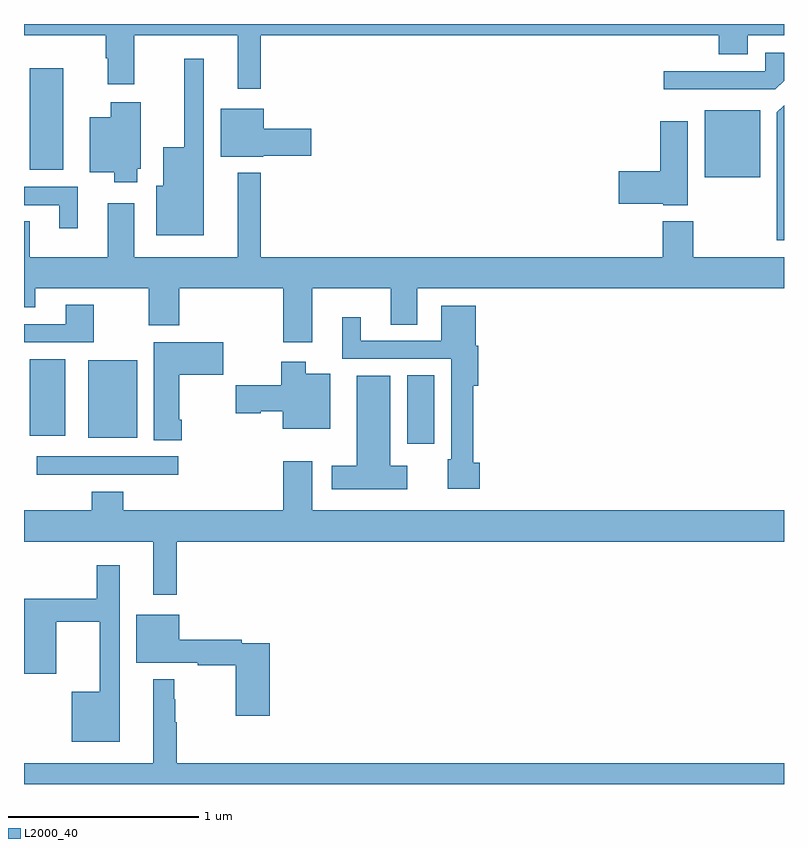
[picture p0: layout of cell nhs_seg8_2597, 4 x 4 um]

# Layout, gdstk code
import gdstk
lib = gdstk.Library(unit=1e-6, precision=1e-09)
def R(c, l, rs):  # rectangles x0, y0, x1, y1
    for r in rs: c.add(gdstk.rectangle(r[:2], r[2:], *l))
def P(c, l, *ps):  # polygons
    for p in ps: c.add(gdstk.Polygon(p, *l))
L2000_40 = (2000, 40)

nhs_seg8_2597 = lib.new_cell('nhs_seg8_2597')
R(nhs_seg8_2597, L2000_40, [(275.067,1107.528,275.812,1107.624), (277.016,1107.69,277.159,1108.052), (275.339,1107.722,275.596,1108.129), (275.03,1107.734,275.218,1108.135), (278.582,1109.093,278.875,1109.446), (275.03,1109.132,275.206,1109.668)])
P(nhs_seg8_2597, L2000_40, [(276.247,1109.84),(278.657,1109.84),(278.657,1109.741),(278.809,1109.741),(278.809,1109.84),(279,1109.84),(279,1109.9),(275,1109.9),(275,1109.84),(275.429,1109.84),(275.429,1109.72),(275.441,1109.72),(275.441,1109.583),(275.581,1109.583),(275.581,1109.84),(276.125,1109.84),(276.125,1109.559),(276.247,1109.559)],
  [(279,1109.601),(279,1109.748),(278.901,1109.748),(278.901,1109.652),(278.367,1109.652),(278.367,1109.556),(278.955,1109.556)],
  [(275.947,1109.716),(275.843,1109.716),(275.843,1109.251),(275.732,1109.251),(275.732,1109.05),(275.696,1109.05),(275.696,1108.787),(275.947,1108.787)],
  [(275.596,1109.139),(275.614,1109.139),(275.614,1109.488),(275.456,1109.488),(275.456,1109.41),(275.345,1109.41),(275.345,1109.12),(275.474,1109.12),(275.474,1109.066),(275.596,1109.066)],
  [(279,1109.472),(278.963,1109.435),(278.963,1108.763),(279,1108.763)],
  [(276.258,1109.207),(276.511,1109.207),(276.511,1109.349),(276.262,1109.349),(276.262,1109.455),(276.035,1109.455),(276.035,1109.201),(276.258,1109.201)],
  [(278.494,1109.389),(278.348,1109.389),(278.348,1109.126),(278.13,1109.126),(278.13,1108.955),(278.364,1108.955),(278.364,1108.946),(278.494,1108.946)],
  [(276.517,1108.508),(276.929,1108.508),(276.929,1108.318),(277.069,1108.318),(277.069,1108.508),(279,1108.508),(279,1108.672),(278.523,1108.672),(278.523,1108.861),(278.363,1108.861),(278.363,1108.672),(276.247,1108.672),(276.247,1109.116),(276.125,1109.116),(276.125,1108.672),(275.581,1108.672),(275.581,1108.957),(275.441,1108.957),(275.441,1108.672),(275.029,1108.672),(275.029,1108.862),(275,1108.862),(275,1108.409),(275.059,1108.409),(275.059,1108.508),(275.656,1108.508),(275.656,1108.314),(275.816,1108.314),(275.816,1108.508),(276.365,1108.508),(276.365,1108.224),(276.517,1108.224)],
  [(275.284,1109.043),(275,1109.043),(275,1108.947),(275.186,1108.947),(275.186,1108.824),(275.284,1108.824)],
  [(275.367,1108.423),(275.219,1108.423),(275.219,1108.32),(275,1108.32),(275,1108.224),(275.367,1108.224)],
  [(277.399,1107.591),(277.364,1107.591),(277.364,1107.995),(277.391,1107.995),(277.391,1108.206),(277.378,1108.206),(277.378,1108.417),(277.196,1108.417),(277.196,1108.233),(276.772,1108.233),(276.772,1108.357),(276.674,1108.357),(276.674,1108.137),(277.248,1108.137),(277.248,1107.609),(277.229,1107.609),(277.229,1107.453),(277.399,1107.453)],
  [(275.831,1107.817),(275.818,1107.817),(275.818,1108.055),(276.049,1108.055),(276.049,1108.225),(275.684,1108.225),(275.684,1107.709),(275.831,1107.709)],
  [(276.613,1108.06),(276.484,1108.06),(276.484,1108.123),(276.355,1108.123),(276.355,1107.998),(276.114,1107.998),(276.114,1107.851),(276.246,1107.851),(276.246,1107.863),(276.362,1107.863),(276.362,1107.77),(276.613,1107.77)],
  [(277.018,1107.574),(276.928,1107.574),(276.928,1108.048),(276.752,1108.048),(276.752,1107.574),(276.621,1107.574),(276.621,1107.452),(277.018,1107.452)],
  [(275.803,1107.176),(279,1107.176),(279,1107.34),(276.517,1107.34),(276.517,1107.598),(276.365,1107.598),(276.365,1107.34),(275.522,1107.34),(275.522,1107.439),(275.357,1107.439),(275.357,1107.34),(275,1107.34),(275,1107.176),(275.681,1107.176),(275.681,1106.895),(275.803,1106.895)],
  [(275.503,1107.052),(275.382,1107.052),(275.382,1106.875),(275,1106.875),(275,1106.481),(275.17,1106.481),(275.17,1106.754),(275.399,1106.754),(275.399,1106.386),(275.252,1106.386),(275.252,1106.123),(275.503,1106.123)],
  [(276.293,1106.64),(276.146,1106.64),(276.146,1106.66),(275.818,1106.66),(275.818,1106.791),(275.591,1106.791),(275.591,1106.537),(275.914,1106.537),(275.914,1106.524),(276.115,1106.524),(276.115,1106.259),(276.293,1106.259)],
  [(279,1106.008),(275.803,1106.008),(275.803,1106.225),(275.795,1106.225),(275.795,1106.345),(275.792,1106.345),(275.792,1106.452),(275.681,1106.452),(275.681,1106.008),(275,1106.008),(275,1105.9),(279,1105.9)])

lib.write_gds('nhs_seg8_2597.gds')
